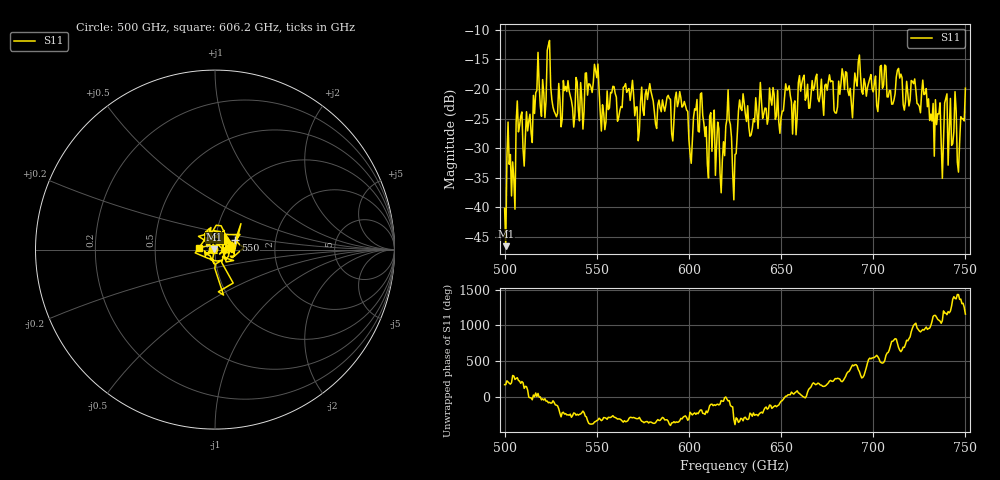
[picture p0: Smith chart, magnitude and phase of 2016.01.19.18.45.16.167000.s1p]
!Created with skrf (http://scikit-rf.org).
# GHz S RI R 50.0
!freq ReS11 ImS11
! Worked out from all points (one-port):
!   401 points, 500 GHz to 750 GHz, reference 50 ohm
!   lowest |S11| = -46.6 dB at 500.6 GHz (marker M1), VSWR 1.01, Z = 49.5 + j0.0878 ohm
!   |S11| at or under -10 dB: start of sweep to end of sweep
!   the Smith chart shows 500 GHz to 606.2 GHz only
!   S11 on the Smith chart (normalised r, x): 500 GHz: 0.98, +0.00; 550 GHz: 1.25, +0.13; 606.2 GHz: 0.83, +0.02
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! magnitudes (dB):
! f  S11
! 500 GHz  -40.2
! 500.6 GHz  -46.6
! 502.5 GHz  -32.7
! 504.4 GHz  -32.3
! 507.5 GHz  -27.3
! 511.2 GHz  -28.1
! 523.8 GHz  -12.6
! 526.9 GHz  -23.8
! 531.2 GHz  -25.1
! 550 GHz  -18.1
! 553.8 GHz  -24.0
! 558.8 GHz  -19.5
! 562.5 GHz  -23.7
! 593.8 GHz  -23.0
! 601.2 GHz  -32.6
! 606.2 GHz  -20.9
! 618.1 GHz  -32.1
! 621.2 GHz  -20.1
! 625 GHz  -31.1
! 628.8 GHz  -23.6
! 633.8 GHz  -27.8
! 656.2 GHz  -27.6
! 661.2 GHz  -19.0
! 687.5 GHz  -19.9
! 691.2 GHz  -19.5
! 718.8 GHz  -20.7
! 746.9 GHz  -29.0
! 750 GHz  -19.9
